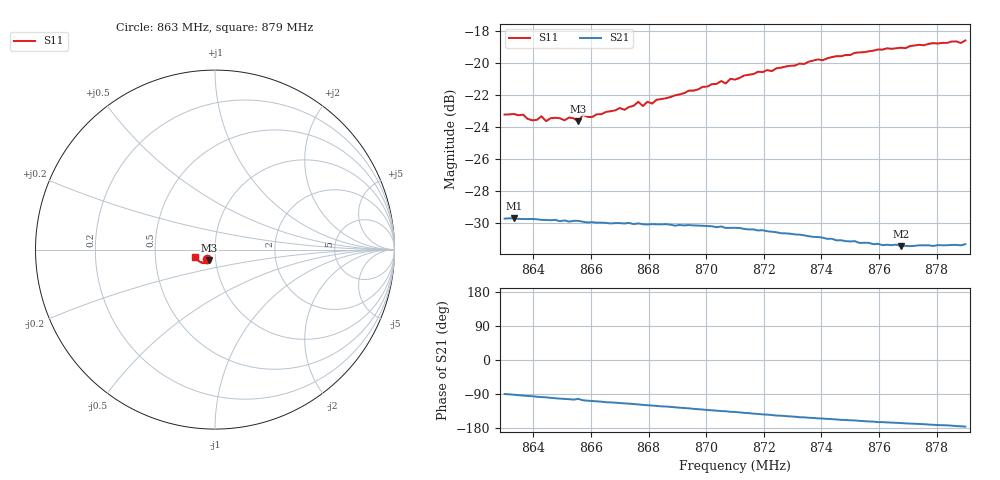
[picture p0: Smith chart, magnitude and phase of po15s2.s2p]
# HZ S RI R 50
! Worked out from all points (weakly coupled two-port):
!   101 points, 863 MHz to 879 MHz, reference 50 ohm
!   highest |S21| = -29.73 dB at 863.32 MHz (marker M1); lowest = -31.5 dB at 876.76 MHz (marker M2)
!   lowest |S11| = -23.7 dB at 865.56 MHz (marker M3), VSWR 1.14, Z = 46.7 - j5.42 ohm
!   |S11| at or under -10 dB: start of sweep to end of sweep
!   S12 and S22 are empty: the file has one direction only
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8.63e8  -0.0427 -0.0541  0.000129 -0.0325  0 0  0 0
8.6332e8  -0.0423 -0.0548  -0.000947 -0.0326  0 0  0 0
8.6364e8  -0.041 -0.0554  -0.00214 -0.0324  0 0  0 0
8.6396e8  -0.0381 -0.054  -0.00316 -0.0323  0 0  0 0
8.6428e8  -0.0379 -0.0566  -0.00441 -0.0319  0 0  0 0
8.6444e8  -0.0361 -0.055  -0.00474 -0.0319  0 0  0 0
8.6524e8  -0.0356 -0.0573  -0.0074 -0.031  0 0  0 0
8.6556e8  -0.0311 -0.0578  -0.00696 -0.0312  0 0  0 0
8.6572e8  -0.0342 -0.0597  -0.00891 -0.0305  0 0  0 0
8.6604e8  -0.0344 -0.0584  -0.0099 -0.0301  0 0  0 0
8.67e8  -0.037 -0.0621  -0.0126 -0.0289  0 0  0 0
8.6716e8  -0.0345 -0.0625  -0.013 -0.0286  0 0  0 0
8.6764e8  -0.0364 -0.0663  -0.0144 -0.0279  0 0  0 0
8.678e8  -0.0354 -0.0642  -0.0149 -0.0275  0 0  0 0
8.6796e8  -0.0366 -0.0662  -0.0153 -0.0272  0 0  0 0
8.6812e8  -0.0358 -0.0655  -0.0158 -0.027  0 0  0 0
8.6844e8  -0.0374 -0.0675  -0.0167 -0.0264  0 0  0 0
8.71e8  -0.0493 -0.0738  -0.0223 -0.0207  0 0  0 0
8.7372e8  -0.0697 -0.0742  -0.0254 -0.013  0 0  0 0
8.7644e8  -0.0924 -0.0612  -0.026 -0.00686  0 0  0 0
8.7676e8  -0.0953 -0.0584  -0.0259 -0.0063  0 0  0 0
8.79e8  -0.1111 -0.0391  -0.027 -0.002  0 0  0 0
